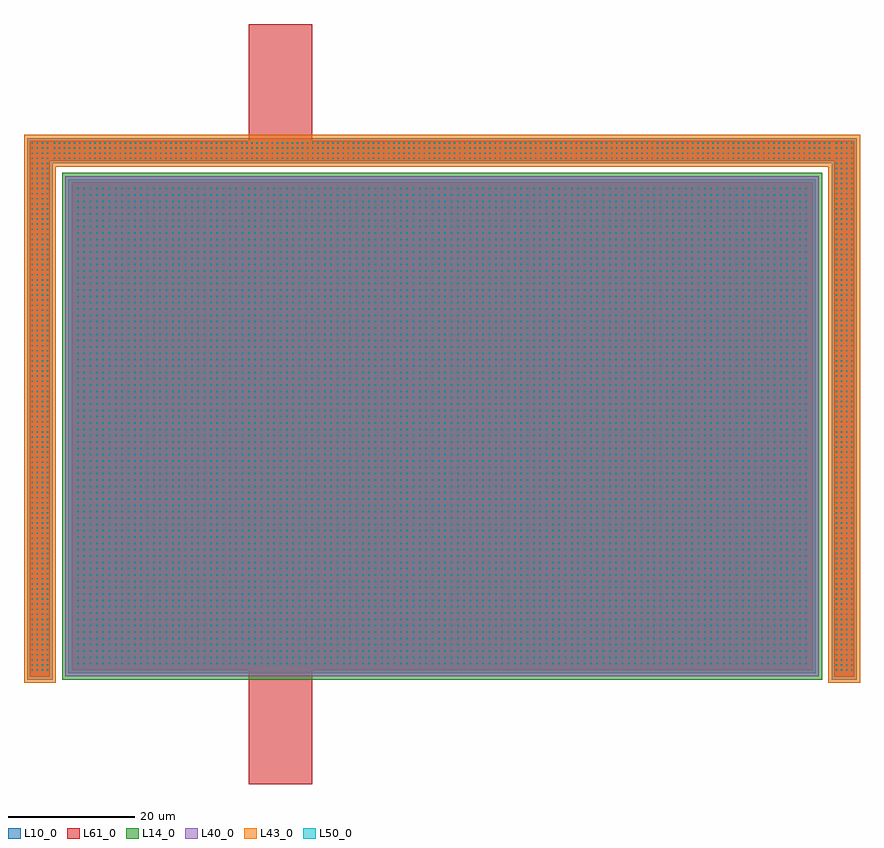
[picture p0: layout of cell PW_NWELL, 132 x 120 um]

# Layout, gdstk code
from math import pi, radians
import gdstk
lib = gdstk.Library(unit=1e-6, precision=1e-09)
def R(c, l, rs):  # rectangles x0, y0, x1, y1
    for r in rs: c.add(gdstk.rectangle(r[:2], r[2:], *l))
def P(c, l, *ps):  # polygons
    for p in ps: c.add(gdstk.Polygon(p, *l))
L10_0 = (10, 0)
L14_0 = (14, 0)
L40_0 = (40, 0)
L43_0 = (43, 0)
L50_0 = (50, 0)
L61_0 = (61, 0)

cont022stc_tl001_m = lib.new_cell('CONT022STC_TL001_M')
R(cont022stc_tl001_m, L50_0, [(0,0,0.22,0.22)])

pw_nwell = lib.new_cell('PW_NWELL')
R(pw_nwell, L10_0, [(167,16.5,171,98), (46.5,17.5,164.5,95.5)])
P(pw_nwell, L10_0, [(40,16.5),(40,102),(171,102),(171,98),(44,98),(44,16.5)])
R(pw_nwell, L14_0, [(45.5,16.5,165.5,96.5)])
R(pw_nwell, L40_0, [(46,17,165,96)])
R(pw_nwell, L43_0, [(166.5,16,171.5,97.5)])
P(pw_nwell, L43_0, [(39.5,16),(39.5,102.5),(171.5,102.5),(171.5,97.5),(44.5,97.5),(44.5,16)])
R(pw_nwell, L61_0, [(75,0,85,18), (40.4,16.9,43.6,101.6), (167.4,16.9,170.6,98.4), (47,18,164,95), (43.6,98.4,170.6,101.6), (75,101.6,85,120)])
r = gdstk.Reference(cont022stc_tl001_m, (166.81,98.69), rotation=pi, x_reflection=True); r.repetition = gdstk.Repetition(154, 4, v1=(-0.8,0), v2=(0,0.8)); pw_nwell.add(r)
r = gdstk.Reference(cont022stc_tl001_m, (43.31,17.89), rotation=pi, x_reflection=True); r.repetition = gdstk.Repetition(4, 105, v1=(-0.8,0), v2=(0,0.8)); pw_nwell.add(r)
r = gdstk.Reference(cont022stc_tl001_m, (170.31,17.89), rotation=pi, x_reflection=True); r.repetition = gdstk.Repetition(4, 105, v1=(-0.8,0), v2=(0,0.8)); pw_nwell.add(r)
r = gdstk.Reference(cont022stc_tl001_m, (163.11,18.89), rotation=pi, x_reflection=True); r.repetition = gdstk.Repetition(116, 76, v1=(-1,0), v2=(0,1)); pw_nwell.add(r)

lib.write_gds('PW_NWELL.gds')
